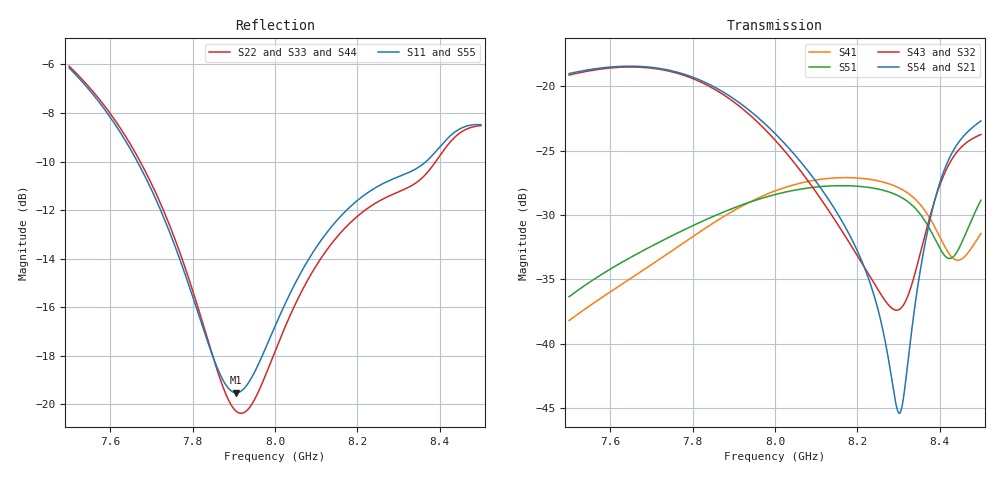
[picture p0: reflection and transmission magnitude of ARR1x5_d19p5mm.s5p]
! Touchstone file exported from HFSS 2025.1.0
!  File:  C:/Users/user/Documents/Ansoft/TFG_UWB-MIMO-Array.aedt
!  Generated:  04:10:09 PM Nov 20, 2026
!  Design:  ARR1x5_US3_PS6_4_dparam
!  Project:  TFG_UWB-MIMO-Array
!  Setup:  Setup_ch9
!  Solution:  Sweep_7p5_8p5
! Variables:
!  arr_d = 19.5mm
!  board_m = 13mm
!  board_x = 104mm
!  board_y = 26mm
!  cu_t = 0.035mm
!  line_w = 3.92mm
!  pad_xy = 22mm
!  pad_zn = 25mm
!  pad_zp = 33mm
!  par_L = 7.05mm
!  par_W = 13.58mm
!  par_yc = 0.615mm
!  par_z = 1.035mm
!  patch_L = 6.29mm
!  patch_W = 14mm
!  sub_h = 2.07mm
!  tr_l = 7.25mm
!  tr_w = 1mm
!  u_Lu = 2.65mm
!  u_Wu = 4.4mm
!  u_t = 0.8mm
!  u_y0 = -0.7mm
# GHz S MA R 50.000000
! Terminal data exported
! Port[1] = P1
! Port[2] = P2
! Port[3] = P3
! Port[4] = P4
! Port[5] = P5
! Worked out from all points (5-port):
!   1001 points, 7.5 GHz to 8.5 GHz, reference 50 ohm
!   strongest paths, dB at 7.5 GHz, 7.75 GHz, 8 GHz, 8.25 GHz, 8.5 GHz:
!     S54: -19.0, -18.8, -23.7, -37.3, -22.7
!     S21: -19.0, -18.8, -23.6, -37.1, -22.7
!     S43: -19.1, -18.9, -24.2, -35.8, -23.8
!     S32: -19.2, -18.9, -24.2, -35.9, -23.7
!     S51: -36.3, -31.6, -28.4, -28.0, -28.9
!     S41: -38.2, -32.8, -28.1, -27.3, -31.4
!   lowest |S11| = -19.5 dB at 7.906 GHz (marker M1), VSWR 1.24, Z = 60.6 - j4.87 ohm
!   |S11| at or under -10 dB: 7.666 GHz to 8.367 GHz (701.3 MHz wide, 8.75 % of centre)
